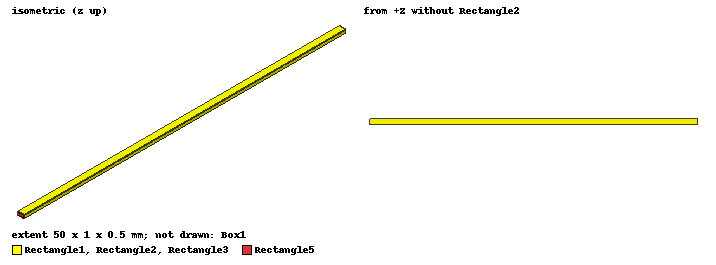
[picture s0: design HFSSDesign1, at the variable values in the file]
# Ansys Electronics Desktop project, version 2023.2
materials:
  vacuum: permittivity=1

design HFSSDesign1 (HFSS, HFSS Modal Network, model units mm)
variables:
  l = 50mm
  w = 1mm
  b = 0.5mm
  k = 50mm
  p = 100mm
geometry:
  Rectangle1 = rectangle(corner=(-l/2, -w/2, 0mm), x_size=l, y_size=w)
  Rectangle2 = rectangle(corner=(-l/2, -w/2, b), x_size=l, y_size=w)
  Rectangle3 = rectangle(corner=(-k/2, w/2, 0mm), z_size=b, x_size=k)
  Rectangle4 = rectangle(corner=(-k/2, -w/2, 0mm), z_size=b, x_size=k)
  Rectangle5 = rectangle(corner=(25mm, -0.5mm, 0.5mm), y_size=1mm, z_size=-0.5mm)
  Rectangle6 = rectangle(corner=(-25mm, -0.5mm, 0.5mm), y_size=1mm, z_size=-0.5mm)
  Box1 [vacuum] = box(corner=(-25mm, -p/2, -p/2), size=(50mm, p, p))
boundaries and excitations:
  PerfE1: Perfect E Objects=Rectangle1
  PerfE2: Perfect E Objects=[Rectangle2, Rectangle3, Rectangle4]
  Rad1: Radiation Objects=Box1
  1: Wave Port Objects=Rectangle5 WavePortType=Modal NumModes=1 Modes{Mode1{IntLine{(25, 0, 0) -> (25, 0, 0.5)} CharImp=Zpi}}
  2: Lumped Port Objects=Rectangle6 LumpedPortType=Modal Modes{Mode1{IntLine{(-25, 0, 0) -> (-25, 0, 0.5)} CharImp=Zpi}} Impedance=50ohm
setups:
  Setup1: HfssDriven Frequency=10GHz MaxDeltaS=0.02 MaximumPasses=6 MinimumPasses=1 MinimumConvergedPasses=1 PercentRefinement=30 BasisOrder=1 PortAccuracy=2 DrivenSolverType="Direct Solver"
    sweep Sweep: 5GHz to 15GHz, 401 points; Type=Fast SaveFields
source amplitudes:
  1:1: 1V 0deg
  2:1: 0V 0deg
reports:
  S Parameter Plot 1: dB(S(1,1)) vs Freq on Setup1 : Sweep
  S Parameter Plot 2: dB(S(1,2)) vs Freq on Setup1 : Sweep
